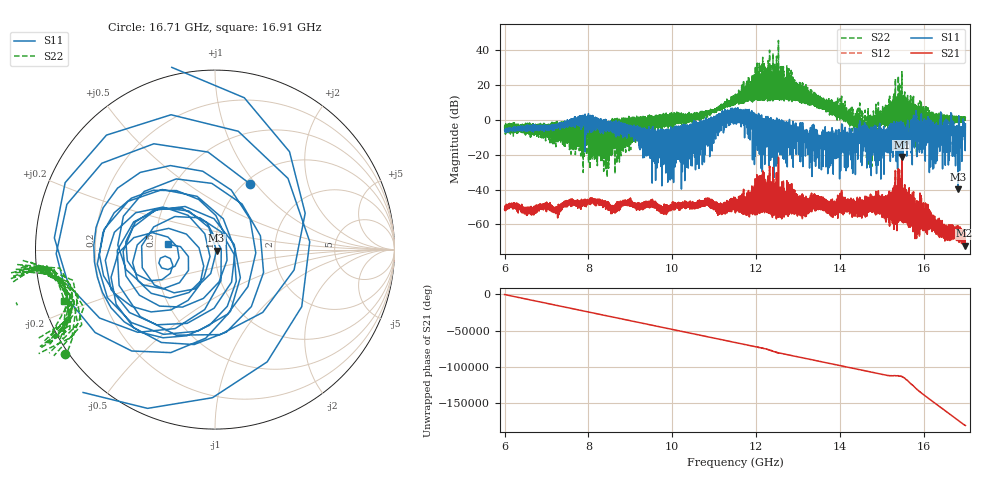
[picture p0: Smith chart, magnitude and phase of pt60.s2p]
#  HZ  S  RI  R  50.00
! Rohde & Schwarz Vector Network Analyzer
! Rohde-Schwarz,ZNA67-2Port,1332450062101215,3.01
! Created: UTC 10/16/2026, 10:53:57 AM
! freq[Hz]  re:S11  im:S11  re:S21  im:S21  re:S12  im:S12  re:S22  im:S22
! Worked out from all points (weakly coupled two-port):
!   11001 points, 6 GHz to 17 GHz, reference 50 ohm
!   highest |S21| = -21.30 dB at 15.48 GHz (marker M1); lowest = -72.3 dB at 16.98 GHz (marker M2)
!   lowest |S11| = -39.8 dB at 16.82 GHz (marker M3), VSWR 1.02, Z = 50.9 - j0.57 ohm
!   |S11| at or under -10 dB: 13.52839 GHz to 13.56781 GHz (39.42 MHz wide, 0.291 % of centre); 13.61104 GHz to 13.6371 GHz (26.07 MHz wide, 0.191 % of centre); 14.1465 GHz to 14.17293 GHz (26.43 MHz wide, 0.187 % of centre) (the widest 3 of 489)
!   |S22| runs from -33.0 to 45.6 dB; largest |S21 - S12| = 0.0036
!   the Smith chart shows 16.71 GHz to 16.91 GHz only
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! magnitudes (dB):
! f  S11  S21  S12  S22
! 6 GHz  -6.0  -51.4  -51.4  -4.9
! 7.223 GHz  -4.2  -52.9  -52.7  -15.4
! 7.834 GHz  -0.7  -46.5  -46.4  -2.3
! 8.489 GHz  -2.5  -48.5  -48.3  -1.2
! 9.667 GHz  -5.9  -49.2  -49.2  2.4
! 10.68 GHz  -0.4  -50.1  -50.0  4.1
! 11.17 GHz  -6.1  -49.7  -49.6  6.1
! 11.5 GHz  6.6  -49.5  -49.5  11.2
! 12.17 GHz  -0.4  -50.5  -50.6  14.0
! 12.59 GHz  -3.5  -54.7  -54.9  11.6
! 13.33 GHz  -7.6  -49.5  -49.4  10.5
! 13.54 GHz  -13.8  -46.1  -46.3  12.7
! 14.55 GHz  -9.7  -51.5  -51.4  0.6
! 15.17 GHz  -13.4  -47.2  -47.2  3.0
! 15.48 GHz  -28.8  -21.3  -21.4  27.6
! 15.68 GHz  -9.5  -47.1  -46.7  7.7
! 15.8 GHz  -3.8  -57.1  -56.6  1.3
! 16.19 GHz  -8.7  -59.2  -59.1  -0.7
! 16.38 GHz  -7.6  -58.3  -58.7  0.9
! 16.82 GHz  -39.8  -61.8  -62.0  1.5
! 16.98 GHz  -2.7  -72.3  -72.5  -0.9
! 17 GHz  -2.2  -66.5  -67.0  0.9
